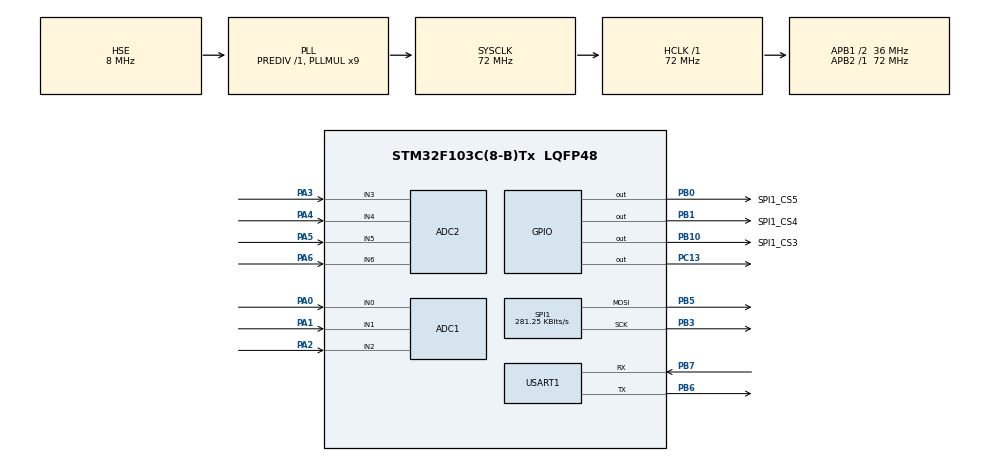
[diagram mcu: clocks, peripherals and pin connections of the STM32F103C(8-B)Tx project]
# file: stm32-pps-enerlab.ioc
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ADC1.Channel-0\#ChannelRegularConversion=ADC_CHANNEL_0
ADC1.Channel-1\#ChannelRegularConversion=ADC_CHANNEL_1
ADC1.Channel-2\#ChannelRegularConversion=ADC_CHANNEL_2
ADC1.Channel-4\#ChannelRegularConversion=ADC_CHANNEL_VREFINT
ADC1.ContinuousConvMode=DISABLE
ADC1.ExternalTrigConv=ADC_EXTERNALTRIGCONV_T3_TRGO
ADC1.Mode=ADC_DUALMODE_REGSIMULT
ADC1.NbrOfConversion=4
ADC1.NbrOfConversionFlag=1
ADC1.Rank-0\#ChannelRegularConversion=1
ADC1.Rank-1\#ChannelRegularConversion=2
ADC1.Rank-2\#ChannelRegularConversion=3
ADC1.Rank-4\#ChannelRegularConversion=4
ADC1.SamplingTime-0\#ChannelRegularConversion=ADC_SAMPLETIME_239CYCLES_5
ADC1.SamplingTime-1\#ChannelRegularConversion=ADC_SAMPLETIME_239CYCLES_5
ADC1.SamplingTime-2\#ChannelRegularConversion=ADC_SAMPLETIME_239CYCLES_5
ADC1.SamplingTime-4\#ChannelRegularConversion=ADC_SAMPLETIME_239CYCLES_5
ADC1.master=1
ADC2.Channel-0\#ChannelRegularConversion=ADC_CHANNEL_3
ADC2.Channel-1\#ChannelRegularConversion=ADC_CHANNEL_4
ADC2.Channel-2\#ChannelRegularConversion=ADC_CHANNEL_5
ADC2.Channel-3\#ChannelRegularConversion=ADC_CHANNEL_6
ADC2.ContinuousConvMode=DISABLE
ADC2.Mode=ADC_DUALMODE_REGSIMULT
ADC2.NbrOfConversion=4
ADC2.NbrOfConversionFlag=1
ADC2.Rank-0\#ChannelRegularConversion=1
ADC2.Rank-1\#ChannelRegularConversion=2
ADC2.Rank-2\#ChannelRegularConversion=3
ADC2.Rank-3\#ChannelRegularConversion=4
ADC2.SamplingTime-0\#ChannelRegularConversion=ADC_SAMPLETIME_239CYCLES_5
ADC2.SamplingTime-1\#ChannelRegularConversion=ADC_SAMPLETIME_239CYCLES_5
ADC2.SamplingTime-2\#ChannelRegularConversion=ADC_SAMPLETIME_239CYCLES_5
ADC2.SamplingTime-3\#ChannelRegularConversion=ADC_SAMPLETIME_239CYCLES_5
Dma.ADC1.0.Direction=DMA_PERIPH_TO_MEMORY
Dma.ADC1.0.Instance=DMA1_Channel1
Dma.ADC1.0.MemDataAlignment=DMA_MDATAALIGN_WORD
Dma.ADC1.0.MemInc=DMA_MINC_ENABLE
Dma.ADC1.0.Mode=DMA_CIRCULAR
Dma.ADC1.0.PeriphDataAlignment=DMA_PDATAALIGN_WORD
Dma.ADC1.0.PeriphInc=DMA_PINC_DISABLE
Dma.ADC1.0.Priority=DMA_PRIORITY_LOW
Dma.Request0=ADC1
Dma.Request1=USART1_TX
Dma.Request2=SPI1_TX
Dma.SPI1_TX.2.Direction=DMA_MEMORY_TO_PERIPH
Dma.SPI1_TX.2.Instance=DMA1_Channel3
Dma.SPI1_TX.2.MemDataAlignment=DMA_MDATAALIGN_BYTE
Dma.SPI1_TX.2.MemInc=DMA_MINC_ENABLE
Dma.SPI1_TX.2.Mode=DMA_NORMAL
Dma.SPI1_TX.2.PeriphDataAlignment=DMA_PDATAALIGN_BYTE
Dma.SPI1_TX.2.PeriphInc=DMA_PINC_DISABLE
Dma.SPI1_TX.2.Priority=DMA_PRIORITY_LOW
Dma.USART1_TX.1.Direction=DMA_MEMORY_TO_PERIPH
Dma.USART1_TX.1.Instance=DMA1_Channel4
Dma.USART1_TX.1.MemDataAlignment=DMA_MDATAALIGN_BYTE
Dma.USART1_TX.1.MemInc=DMA_MINC_ENABLE
Dma.USART1_TX.1.Mode=DMA_NORMAL
Dma.USART1_TX.1.PeriphDataAlignment=DMA_PDATAALIGN_BYTE
Dma.USART1_TX.1.PeriphInc=DMA_PINC_DISABLE
Dma.USART1_TX.1.Priority=DMA_PRIORITY_LOW
Mcu.Family=STM32F1
Mcu.Name=STM32F103C(8-B)Tx
Mcu.Package=LQFP48
NVIC.DMA1_Channel1_IRQn=true\:0\:0\:false\:false\:true\:false\:true\:true
NVIC.DMA1_Channel3_IRQn=true\:0\:0\:false\:false\:true\:false\:true\:true
NVIC.DMA1_Channel4_IRQn=true\:0\:0\:false\:false\:true\:false\:true\:true
NVIC.PriorityGroup=NVIC_PRIORITYGROUP_4
PA0-WKUP.Signal=ADCx_IN0
PA1.Signal=ADCx_IN1
PA13.Mode=Serial_Wire
PA13.Signal=SYS_JTMS-SWDIO
PA14.Mode=Serial_Wire
PA14.Signal=SYS_JTCK-SWCLK
PA2.Signal=ADCx_IN2
PA3.Signal=ADCx_IN3
PA4.Signal=ADCx_IN4
PA5.Signal=ADCx_IN5
PA6.Signal=ADCx_IN6
PB0.GPIO_Label=SPI1_CS5
PB0.Signal=GPIO_Output
PB1.GPIO_Label=SPI1_CS4
PB1.Signal=GPIO_Output
PB10.GPIO_Label=SPI1_CS3
PB10.Signal=GPIO_Output
PB3.Mode=TX_Only_Simplex_Unidirect_Master
PB3.Signal=SPI1_SCK
PB4.Signal=SPI1_MISO
PB5.Mode=TX_Only_Simplex_Unidirect_Master
PB5.Signal=SPI1_MOSI
PB6.Mode=Asynchronous
PB6.Signal=USART1_TX
PB7.Mode=Asynchronous
PB7.Signal=USART1_RX
PC13-TAMPER-RTC.Signal=GPIO_Output
PD0-OSC_IN.Mode=HSE-External-Oscillator
PD0-OSC_IN.Signal=RCC_OSC_IN
PD1-OSC_OUT.Mode=HSE-External-Oscillator
PD1-OSC_OUT.Signal=RCC_OSC_OUT
ProjectManager.HeapSize=0x200
ProjectManager.StackSize=0x400
ProjectManager.TargetToolchain=CMake
RCC.ADCPresc=RCC_ADCPCLK2_DIV6
RCC.AHBFreq_Value=72000000
RCC.APB1CLKDivider=RCC_HCLK_DIV2
RCC.APB1Freq_Value=36000000
RCC.APB1TimFreq_Value=72000000
RCC.APB2Freq_Value=72000000
RCC.APB2TimFreq_Value=72000000
RCC.HCLKFreq_Value=72000000
RCC.PLLMUL=RCC_PLL_MUL9
RCC.PLLSourceVirtual=RCC_PLLSOURCE_HSE
RCC.SYSCLKFreq_VALUE=72000000
RCC.SYSCLKSource=RCC_SYSCLKSOURCE_PLLCLK
RCC.USBFreq_Value=72000000
SH.ADCx_IN0.0=ADC1_IN0,IN0
SH.ADCx_IN1.0=ADC1_IN1,IN1
SH.ADCx_IN2.0=ADC1_IN2,IN2
SH.ADCx_IN3.0=ADC2_IN3,IN3
SH.ADCx_IN4.0=ADC2_IN4,IN4
SH.ADCx_IN5.0=ADC2_IN5,IN5
SH.ADCx_IN6.0=ADC2_IN6,IN6
SPI1.BaudRatePrescaler=SPI_BAUDRATEPRESCALER_256
SPI1.CalculateBaudRate=281.25 KBits/s
SPI1.Direction=SPI_DIRECTION_2LINES
SPI1.Mode=SPI_MODE_MASTER
SPI1.VirtualType=VM_MASTER
TIM3.AutoReloadPreload=TIM_AUTORELOAD_PRELOAD_ENABLE
TIM3.Period=14399
TIM3.Prescaler=0
TIM3.TIM_MasterOutputTrigger=TIM_TRGO_UPDATE
USART1.VirtualMode=VM_ASYNC
VP_ADC1_Vref_Input.Mode=IN-Vrefint
VP_TIM3_VS_ClockSourceINT.Mode=Internal
board=custom

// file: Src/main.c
/* USER CODE BEGIN Header */
/**
  ******************************************************************************
  * @file           : main.c
  * @brief          : Main program body
  ******************************************************************************
  * @attention
  *
  * Copyright (c) 2025 STMicroelectronics.
  * All rights reserved.
  *
  * This software is licensed under terms that can be found in the LICENSE file
  * in the root directory of this software component.
  * If no LICENSE file comes with this software, it is provided AS-IS.
  *
  ******************************************************************************
  */
/* USER CODE END Header */
#include "main.h"
#include "adc.h"
#include "dma.h"
#include "spi.h"
#include "tim.h"
#include "usart.h"
#include "gpio.h"

/* USER CODE BEGIN Includes */
#include <stdint.h>
#include <stdio.h>
#include <math.h>
#include "mcp4131.c"

/* USER CODE END Includes */

/* USER CODE BEGIN PD */

#define PER_ADC_CHANNEL_COUNT 4U
#define TOTAL_CHANNELS        6U

#define MAX_SAMPLES           130
#define MAX_RMS               128
#define MAX_RMS_PROM1         6

#define HYST                  40

#define I_MAX                 1638 //80% = 0.08 * 4095 / 2
#define I_MIN                 512  //25%

/* USER CODE END PD */

/* USER CODE BEGIN PV */

/* DMA multimode buffer */
static uint32_t adc_dma_buf[PER_ADC_CHANNEL_COUNT];
static ADC_MeasurementData_t adcIncData;

/* Buffers */
static int16_t sample_buffer[TOTAL_CHANNELS][MAX_SAMPLES];
static float rms_result[TOTAL_CHANNELS][MAX_RMS];
static float rms_prom1[TOTAL_CHANNELS][MAX_RMS_PROM1];
static float rms_prom2[TOTAL_CHANNELS];
static float rms_voltage[TOTAL_CHANNELS/2];
static float rms_current[TOTAL_CHANNELS/2];

static float P_inst[3][MAX_RMS];
static float P_prom1[3][MAX_RMS_PROM1];
static float P_prom2[3];

/*buffer para configurar wiper potenciometro Digital*/
int16_t I_max[TOTAL_CHANNELS/2] = {0,0,0};
int16_t I_min[TOTAL_CHANNELS/2] = {0,0,0};

/*flags */
uint8_t flag_adc_ready = 0;
uint8_t  en_region_alta = 0;
uint8_t  muestreo = 0;
uint8_t  primer_periodo = 1;
uint8_t flag_rms_ready = 0;

/*indices*/
uint16_t sample_index = 0;
int16_t rms_index = -1;
int16_t rms_prom1_index = -1;

int16_t v1 = 0;

static const uint8_t valid_channels[] = {0, 1, 2, 4, 5, 6};

static float calculate_rms(int16_t *buffer, uint8_t samples);
static float calculate_mean(float *buffer, uint8_t samples);
static float adc_to_voltage(float adc_value);
static float adc_to_current(float adc_value, uint8_t gain);

static float calculate_active_power(int16_t *v_buf, int16_t *i_buf, uint8_t samples);

static float vdda = 3.3f;

//static int16_t offset = 2048;
static uint8_t adc_calibrated = 0;

/* MCP4131 Digital Potentiometer handles */
static MCP4131_HandleTypeDef hpot3;  /* CS3 */
static MCP4131_HandleTypeDef hpot4;  /* CS4 */
static MCP4131_HandleTypeDef hpot5;  /* CS5 */

/* USER CODE END PV */

void SystemClock_Config(void);

int main(void)
{

  /* MCU Configuration--------------------------------------------------------*/

  /* Reset of all peripherals, Initializes the Flash interface and the Systick. */
  HAL_Init();

  /* Configure the system clock */
  SystemClock_Config();

  /* Initialize all configured peripherals */
  MX_GPIO_Init();
  MX_DMA_Init();
  MX_ADC1_Init();
  MX_ADC2_Init();
  MX_SPI1_Init();
  MX_USART1_UART_Init();
  MX_TIM3_Init();
  /* USER CODE BEGIN 2 */
  /* Calibración ADC */
  HAL_ADCEx_Calibration_Start(&hadc1);
  HAL_ADCEx_Calibration_Start(&hadc2);

  HAL_TIM_Base_Start(&htim3);

  HAL_ADC_Start(&hadc2);
  HAL_ADCEx_MultiModeStart_DMA(&hadc1, adc_dma_buf, PER_ADC_CHANNEL_COUNT);

// POTENCIONEMTRO DIGITAL REVISAR

  /* Initialize MCP4131 digital potentiometers */
  MCP4131_Init(&hpot3, &hspi1, SPI1_CS3_GPIO_Port, SPI1_CS3_Pin);
  MCP4131_Init(&hpot4, &hspi1, SPI1_CS4_GPIO_Port, SPI1_CS4_Pin);
  MCP4131_Init(&hpot5, &hspi1, SPI1_CS5_GPIO_Port, SPI1_CS5_Pin);

  uint8_t cambio_wiper = 0;
  int8_t wiper[TOTAL_CHANNELS/2] = {0,0,0};

  /* Wiper gain levels: x1, x2, x4, x8, x16, x32, x64 */
  const uint8_t gain_wiper[7] = {64, 86, 103, 114, 121, 125, 127};
  const uint8_t gain_table[7] = {1, 2, 4, 8, 16, 32, 64};

  /* USER CODE END 2 */

  /* Infinite loop */
  /* USER CODE BEGIN WHILE */
  while (1)
  {
    // === Calibración de Vdda ===
    if (!adc_calibrated && flag_adc_ready) {
      ADC_MeasurementData_t adcData;
      __disable_irq();
      adcData = adcIncData;
      flag_adc_ready = 0;
      __enable_irq();

      uint16_t adc_vrefint = adcData.channels[3];

      vdda = (1.21 * 4095.0f) / adc_vrefint;

      adc_calibrated = 1;
      flag_adc_ready = 0;
      continue;
    }

    if (!flag_adc_ready) continue;

    ADC_MeasurementData_t adcData;

    __disable_irq();
    adcData = adcIncData;
    flag_adc_ready = 0;
    __enable_irq();

    // === 1. Leer muestra ADC (referencia para inicio de periodo) ===
    v1 = adcData.channels[0] - adcData.channels[7];

    // === 2. Detección de cruce por cero con histéresis ===
    uint8_t cruce_ascendente = 0;

    if (!en_region_alta && (v1 > HYST)) {
      en_region_alta = 1;
      cruce_ascendente = 1;
    }
    else if (en_region_alta && (v1 < -HYST)) {
      en_region_alta = 0;
    }

    // === 3. Gestión de inicio / fin de período ===
    if (cruce_ascendente){
      if (!muestreo) {
        // ---- INICIO DE PERÍODO ----
        muestreo = 1;
        sample_index = 0;
      }
      else {
        // ---- FIN DE PERÍODO ----
        muestreo = 0;

        if (primer_periodo) {
          // descartar el primer período
          primer_periodo = 0;
        }
        else {

          rms_index = (rms_index + 1) % MAX_RMS;

          //  ---- Calcula y almacena RMS de MAX_RMS periodos  ----
          for (uint8_t ch = 0; ch < TOTAL_CHANNELS; ch++) {
            rms_result[ch][rms_index] = calculate_rms(sample_buffer[ch], sample_index);
            //rms_voltage[ch] = adc_to_voltage(rms_result[ch][rms_index]);
          }
          //  ---- Calcula y almacena P_Activa MAX_RMS periodos  ----
          for(uint8_t phase = 0; phase < 3; phase++) {
            P_inst[phase][rms_index] = calculate_active_power(sample_buffer[phase], sample_buffer[phase+3], sample_index);
          }
          //rms_index = (rms_index + 1) % MAX_RMS;

          //  ---- Promedio RMS y P_activa de MAX_RMS periodos  ----
          if(rms_index == MAX_RMS - 1){
            rms_prom1_index = (rms_prom1_index + 1) % MAX_RMS_PROM1;
            for (uint8_t ch = 0; ch < TOTAL_CHANNELS; ch++) {
              rms_prom1[ch][rms_prom1_index] = calculate_mean(rms_result[ch], MAX_RMS);
              //rms_voltage[ch] = adc_to_voltage(rms_prom1[ch][rms_prom1_index]);
            }
            for (uint8_t phase = 0; phase < 3; phase++) {
              P_prom1[phase][rms_prom1_index] = calculate_mean(P_inst[phase], MAX_RMS);
            }
            //rms_prom1_index = (rms_prom1_index + 1) % MAX_RMS_PROM1;
          }

          //  ---- Promedio RMS y P_activa de MAX_RMS_PROM1 promedios de RMS y P_Activa  ----
          if(rms_prom1_index == MAX_RMS_PROM1 - 1){
            for (uint8_t ch = 0; ch < TOTAL_CHANNELS; ch++) {
              rms_prom2[ch] = calculate_mean(rms_prom1[ch], MAX_RMS_PROM1);
            }

            for(uint8_t phase = 0; phase < 3; phase++) {
              rms_voltage[phase] = adc_to_voltage(rms_prom2[phase]);
              rms_current[phase] = adc_to_current(rms_prom2[phase+3], gain_table[wiper[phase]]);
            }

            for (uint8_t phase = 0; phase < 3; phase++) {
              P_prom2[phase] = calculate_mean(P_prom1[phase], MAX_RMS_PROM1);
            }
            //rms_prom1_index = 0;
            flag_rms_ready = 1;
          }

          //ajuste de wiper
          for(uint8_t ch=0; ch<TOTAL_CHANNELS/2; ch++){
            cambio_wiper = 0;

            if(I_max[ch] < I_MIN || I_min[ch] > -I_MIN){  //menor al 25% del rango de medicion -> aumento ganancia
              cambio_wiper = 1;
              wiper[ch]++;
              if(wiper[ch] > 6){
                wiper[ch] = 6;
              }
            }else{
              if(I_max[ch] > I_MAX || I_min[ch] < -I_MAX){  //mayor al 80% del rango de medicion -> disminuyo ganancia
                cambio_wiper = 1;
                wiper[ch]--;
                if(wiper[ch] < 0){
                  wiper[ch] = 0;
                }
                //AGREGAR: si hubo una saturacion de ADC, descartar este periodo
              }
            }

            if(cambio_wiper){
              switch(ch){
                case 0:
                  if (MCP4131_IsReady(&hpot3)) {
                    MCP4131_WriteWiper_DMA(&hpot3,gain_wiper[wiper[ch]]);
                  }
                  break;
                case 1:
                  if (MCP4131_IsReady(&hpot4)) {
                    MCP4131_WriteWiper_DMA(&hpot4,gain_wiper[wiper[ch]]);
                  }
                  break;
                case 2:
                  if (MCP4131_IsReady(&hpot5)) {
                    MCP4131_WriteWiper_DMA(&hpot5,gain_wiper[wiper[ch]]);
                  }
                  break;
              }
            }

          }

        }
      }
    }

    // === 4. Acumulación de muestras SOLO dentro del período ===
    if (muestreo) {
      if (sample_index < MAX_SAMPLES) {
        for (uint8_t i = 0; i < TOTAL_CHANNELS; i++) {
        //en el buffer "valid_channels" se tienen los canales de tension y corriente (se omite ch3 con VREFINT y ch7 con OFFSET)
          sample_buffer[i][sample_index] = (int16_t)adcData.channels[valid_channels[i]] - (int16_t)adcData.channels[7];
        }

        if(sample_index == 0){
          for(uint8_t ch=0; ch<TOTAL_CHANNELS/2; ch++){
            I_max[ch] = 0;
            I_min[ch] = 0;
          }
        }else{
          for(uint8_t ch=0; ch<TOTAL_CHANNELS/2; ch++){
            if(sample_buffer[ch+3][sample_index] > I_max[ch]){
              I_max[ch] = sample_buffer[ch+3][sample_index];
            }
            if(sample_buffer[ch+3][sample_index] < I_min[ch]){
              I_min[ch] = sample_buffer[ch+3][sample_index];
            }
          }
        }

        sample_index++;
      }
      else {
        // seguridad: overflow del buffer
        muestreo = 0;
        sample_index = 0;
      }
    }

    /* USER CODE END WHILE */

  }
}

void SystemClock_Config(void)
{
  RCC_OscInitTypeDef RCC_OscInitStruct = {0};
  RCC_ClkInitTypeDef RCC_ClkInitStruct = {0};
  RCC_PeriphCLKInitTypeDef PeriphClkInit = {0};

  /** Initializes the RCC Oscillators according to the specified parameters
  * in the RCC_OscInitTypeDef structure.
  */
  RCC_OscInitStruct.OscillatorType = RCC_OSCILLATORTYPE_HSE;
  RCC_OscInitStruct.HSEState = RCC_HSE_ON;
  RCC_OscInitStruct.HSEPredivValue = RCC_HSE_PREDIV_DIV1;
  RCC_OscInitStruct.HSIState = RCC_HSI_ON;
  RCC_OscInitStruct.PLL.PLLState = RCC_PLL_ON;
  RCC_OscInitStruct.PLL.PLLSource = RCC_PLLSOURCE_HSE;
  RCC_OscInitStruct.PLL.PLLMUL = RCC_PLL_MUL9;
  if (HAL_RCC_OscConfig(&RCC_OscInitStruct) != HAL_OK)
  {
    Error_Handler();
  }

  /** Initializes the CPU, AHB and APB buses clocks
  */
  RCC_ClkInitStruct.ClockType = RCC_CLOCKTYPE_HCLK|RCC_CLOCKTYPE_SYSCLK
                              |RCC_CLOCKTYPE_PCLK1|RCC_CLOCKTYPE_PCLK2;
  RCC_ClkInitStruct.SYSCLKSource = RCC_SYSCLKSOURCE_PLLCLK;
  RCC_ClkInitStruct.AHBCLKDivider = RCC_SYSCLK_DIV1;
  RCC_ClkInitStruct.APB1CLKDivider = RCC_HCLK_DIV2;
  RCC_ClkInitStruct.APB2CLKDivider = RCC_HCLK_DIV1;

  if (HAL_RCC_ClockConfig(&RCC_ClkInitStruct, FLASH_LATENCY_2) != HAL_OK)
  {
    Error_Handler();
  }
  PeriphClkInit.PeriphClockSelection = RCC_PERIPHCLK_ADC;
  PeriphClkInit.AdcClockSelection = RCC_ADCPCLK2_DIV6;
  if (HAL_RCCEx_PeriphCLKConfig(&PeriphClkInit) != HAL_OK)
  {
    Error_Handler();
  }
}

/* USER CODE BEGIN 4 */
void HAL_ADC_ConvCpltCallback(ADC_HandleTypeDef* hadc) {
  if (hadc->Instance != ADC1) return;

    for (uint32_t i = 0; i < PER_ADC_CHANNEL_COUNT; i++) {
      uint32_t packed = adc_dma_buf[i];
      adcIncData.channels[i] = (uint16_t)(packed & 0xFFFF);
      adcIncData.channels[i + PER_ADC_CHANNEL_COUNT] = (uint16_t)((packed >> 16) & 0xFFFF);
    }

    flag_adc_ready = 1;
}

void HAL_UART_TxCpltCallback(UART_HandleTypeDef *huart)
{
    if (huart->Instance == USART1) {
        //uartReady = 1;
    }
}

static float calculate_rms(int16_t *buffer, uint8_t samples)
{
    if (samples == 0) return 0.0f;

    float sum = 0.0f;
    for (uint16_t i = 0; i < samples; i++) {
        sum += buffer[i] * buffer[i];
    }
    return (sqrtf((float) sum / samples));
}

static float adc_to_voltage(float adc_value)
{
    return ((float)adc_value * vdda * 0.08153905715f);//adc_value*(197.7/0.5842)*(vdda/4095)
}

static float adc_to_current(float adc_value, uint8_t gain)
{
    return ((float)adc_value * (vdda / 2048) * (30.303 / gain) * (20.0f));
}

static float calculate_mean(float *buffer, uint8_t samples)
{
    if (samples == 0) return 0.0f;

    float acc = 0.0f;
    for (uint16_t i = 0; i < samples; i++) {
        acc += buffer[i];
    }

    return acc / (float)samples;
}

static float calculate_active_power(int16_t *v_buf, int16_t *i_buf, uint8_t samples)
{
    if (samples == 0) return 0.0f;

    float acc = 0.0f;
    for (uint16_t n = 0; n < samples; n++) {
        acc += (float)v_buf[n] * (float)i_buf[n];
    }

    return acc / (float)samples;
}

/* USER CODE END 4 */

void Error_Handler(void)
{
  __disable_irq();
  while (1)
  {
  }
}
